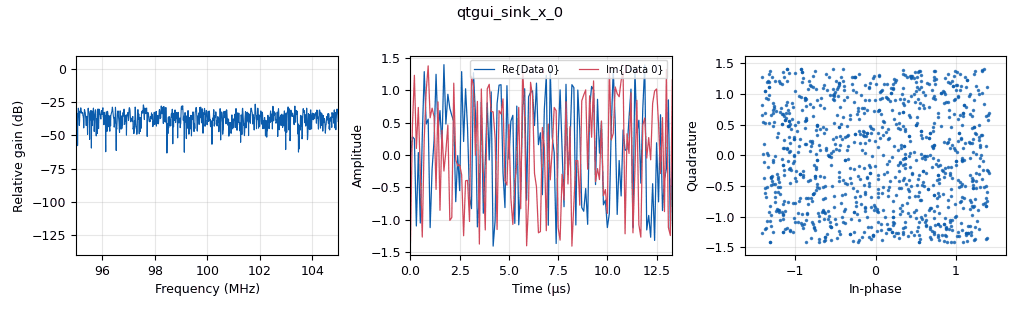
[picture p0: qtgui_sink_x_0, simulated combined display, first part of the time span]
options:
  parameters:
    author: timmy
    generate_options: qt_gui
    id: Resampler
    output_language: python
    title: Not titled yet
  states: {}

blocks:
- name: amp
  id: variable_qtgui_range
  parameters:
    label: Amplitude [Normal]
    orient: Qt.Horizontal
    start: '0'
    step: '1'
    stop: '60'
    value: '20'
  states: {}
- name: freq
  id: variable_qtgui_range
  parameters:
    label: Frekvens [MHz]
    orient: Qt.Horizontal
    start: '100'
    step: '100'
    stop: '6000'
    value: '100'
  states: {}
- name: ratio
  id: variable_qtgui_range
  parameters:
    label: Resample Ratio
    min_len: '500'
    orient: Qt.Horizontal
    start: '0'
    step: '0.1'
    stop: '1'
    value: '1'
  states: {}
- name: samp_rate
  id: variable_qtgui_range
  parameters:
    label: Sample rate [Ms/s]
    orient: Qt.Horizontal
    start: '10'
    step: '10'
    stop: '250'
    value: '10'
    widget: counter
  states: {}
- name: analog_fastnoise_source_x_0
  id: analog_fastnoise_source_x
  parameters:
    amp: '1'
    noise_type: analog.GR_UNIFORM
    samples: '8192'
    seed: '0'
    type: complex
  states: {}
- name: blocks_multiply_const_vxx_0
  id: blocks_multiply_const_vxx
  parameters:
    const: amp/10
    type: complex
  states: {}
- name: mmse_resampler_xx_0
  id: mmse_resampler_xx
  parameters:
    phase_shift: '1'
    resamp_ratio: ratio
    type: complex
  states: {}
- name: qtgui_sink_x_0
  id: qtgui_sink_x
  parameters:
    bw: samp_rate*1e6
    fc: freq*1e6
    fftsize: '1024'
    showrf: 'True'
    type: complex
    wintype: firdes.WIN_BLACKMAN_hARRIS
  states: {}
- name: uhd_usrp_sink_0
  id: uhd_usrp_sink
  parameters:
    ant0: '"TX/RX"'
    center_freq0: freq*1e6
    dev_addr: addr=192.168.10.2
    dev_args: master_clock_rate=200e6
    gain0: amp
    norm_gain0: 'False'
    samp_rate: samp_rate*1e6
    stream_chans: '[0]'
    sync: none
    type: fc32
  states: {}

connections:
- [analog_fastnoise_source_x_0, '0', mmse_resampler_xx_0, '0']
- [blocks_multiply_const_vxx_0, '0', qtgui_sink_x_0, '0']
- [mmse_resampler_xx_0, '0', blocks_multiply_const_vxx_0, '0']
- [mmse_resampler_xx_0, '0', uhd_usrp_sink_0, '0']

metadata:
  file_format: 1
